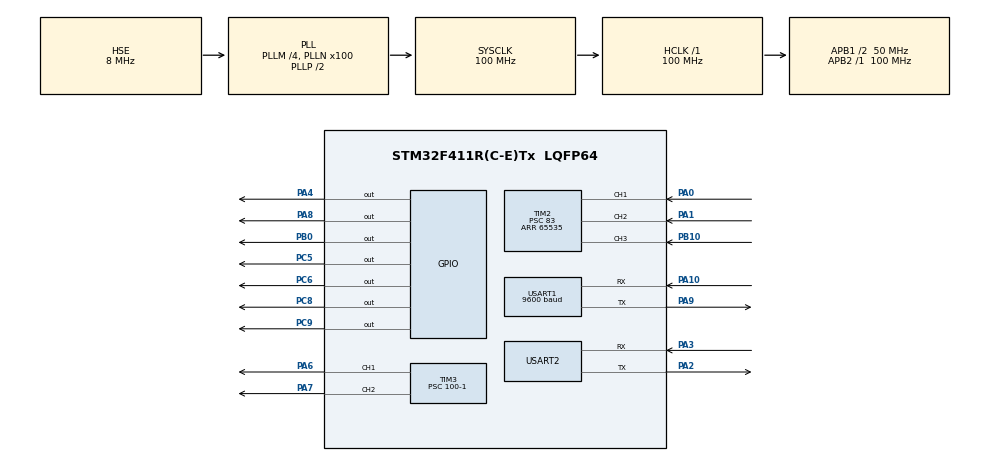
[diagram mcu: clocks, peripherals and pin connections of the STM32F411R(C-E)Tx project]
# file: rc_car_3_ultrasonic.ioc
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Mcu.Family=STM32F4
Mcu.Name=STM32F411R(C-E)Tx
Mcu.Package=LQFP64
NVIC.PriorityGroup=NVIC_PRIORITYGROUP_4
NVIC.TIM2_IRQn=true\:0\:0\:false\:false\:true\:true\:true\:true
NVIC.USART1_IRQn=true\:0\:0\:false\:false\:true\:true\:true\:true
NVIC.USART2_IRQn=true\:0\:0\:false\:false\:true\:true\:true\:true
PA0-WKUP.Signal=S_TIM2_CH1_ETR
PA1.Signal=S_TIM2_CH2
PA10.Mode=Asynchronous
PA10.Signal=USART1_RX
PA13.Mode=Serial_Wire
PA13.Signal=SYS_JTMS-SWDIO
PA14.Mode=Serial_Wire
PA14.Signal=SYS_JTCK-SWCLK
PA2.Mode=Asynchronous
PA2.Signal=USART2_TX
PA3.Mode=Asynchronous
PA3.Signal=USART2_RX
PA4.Signal=GPIO_Output
PA6.Signal=S_TIM3_CH1
PA7.Signal=S_TIM3_CH2
PA8.Signal=GPIO_Output
PA9.Mode=Asynchronous
PA9.Signal=USART1_TX
PB0.Signal=GPIO_Output
PB10.Signal=S_TIM2_CH3
PC5.Signal=GPIO_Output
PC6.Signal=GPIO_Output
PC8.Signal=GPIO_Output
PC9.Signal=GPIO_Output
PH0\ -\ OSC_IN.Mode=HSE-External-Oscillator
PH0\ -\ OSC_IN.Signal=RCC_OSC_IN
PH1\ -\ OSC_OUT.Mode=HSE-External-Oscillator
PH1\ -\ OSC_OUT.Signal=RCC_OSC_OUT
ProjectManager.HeapSize=0x200
ProjectManager.StackSize=0x400
ProjectManager.TargetToolchain=STM32CubeIDE
RCC.48MHZClocksFreq_Value=50000000
RCC.AHBFreq_Value=100000000
RCC.APB1CLKDivider=RCC_HCLK_DIV2
RCC.APB1Freq_Value=50000000
RCC.APB1TimFreq_Value=100000000
RCC.APB2Freq_Value=100000000
RCC.APB2TimFreq_Value=100000000
RCC.CortexFreq_Value=100000000
RCC.HCLKFreq_Value=100000000
RCC.HSE_VALUE=8000000
RCC.HSI_VALUE=16000000
RCC.LSE_VALUE=32768
RCC.PLLM=4
RCC.PLLN=100
RCC.PLLSourceVirtual=RCC_PLLSOURCE_HSE
RCC.SYSCLKFreq_VALUE=100000000
RCC.SYSCLKSource=RCC_SYSCLKSOURCE_PLLCLK
RCC.VCOOutputFreq_Value=200000000
SH.S_TIM2_CH1_ETR.0=TIM2_CH1,Input_Capture1_from_TI1
SH.S_TIM2_CH2.0=TIM2_CH2,Input_Capture2_from_TI2
SH.S_TIM2_CH3.0=TIM2_CH3,Input_Capture3_from_TI3
SH.S_TIM3_CH1.0=TIM3_CH1,PWM Generation1 CH1
SH.S_TIM3_CH2.0=TIM3_CH2,PWM Generation2 CH2
TIM11.Prescaler=100-1
TIM2.Channel-Input_Capture1_from_TI1=TIM_CHANNEL_1
TIM2.Channel-Input_Capture2_from_TI2=TIM_CHANNEL_2
TIM2.Channel-Input_Capture3_from_TI3=TIM_CHANNEL_3
TIM2.Period=65535
TIM2.Prescaler=83
TIM3.Channel-PWM\ Generation1\ CH1=TIM_CHANNEL_1
TIM3.Channel-PWM\ Generation2\ CH2=TIM_CHANNEL_2
TIM3.Period=1000-1
TIM3.Prescaler=100-1
USART1.BaudRate=9600
USART1.VirtualMode=VM_ASYNC
USART2.VirtualMode=VM_ASYNC
VP_TIM11_VS_ClockSourceINT.Mode=Enable_Timer
VP_TIM2_VS_ClockSourceINT.Mode=Internal
VP_TIM3_VS_ClockSourceINT.Mode=Internal
board=custom

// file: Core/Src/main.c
/* USER CODE BEGIN Header */
/**
  ******************************************************************************
  * @file           : main.c
  * @brief          : Ultrasonic 3 sensors (TIM2 IC) + UART2 command
  ******************************************************************************
  */
/* USER CODE END Header */
#include "main.h"
#include "tim.h"
#include "usart.h"
#include "gpio.h"

/* USER CODE BEGIN Includes */
#include "ult.h"
#include "delay.h"
#include <stdio.h>
/* USER CODE END Includes */

/* USER CODE BEGIN PM */
#ifdef __GNUC__
#define PUTCHAR_PROTOTYPE int __io_putchar(int ch)
#else
#define PUTCHAR_PROTOTYPE int fputc(int ch, FILE *f)
#endif

PUTCHAR_PROTOTYPE
{
  if(ch == '\n')
    HAL_UART_Transmit(&huart2, (uint8_t*)"\r", 1, 0xFFFF);
  HAL_UART_Transmit(&huart2, (uint8_t*)&ch, 1, 0xFFFF);
  return ch;
}
/* USER CODE END PM */

void SystemClock_Config(void);
/* USER CODE BEGIN PFP */

void HAL_TIM_IC_CaptureCallback(TIM_HandleTypeDef *htim)
{
    ULT_TIM_IC_CaptureCallback(htim);

}
/* USER CODE END PFP */

int main(void)
{

  /* MCU Configuration--------------------------------------------------------*/

  /* Reset of all peripherals, Initializes the Flash interface and the Systick. */
  HAL_Init();

  /* Configure the system clock */
  SystemClock_Config();

  /* Initialize all configured peripherals */
  MX_GPIO_Init();
  MX_USART2_UART_Init();
  MX_TIM3_Init();
  MX_USART1_UART_Init();
  MX_TIM2_Init();
  MX_TIM11_Init();
  /* USER CODE BEGIN 2 */
  ULT_Init();

  /* USER CODE END 2 */

  /* Infinite loop */
  /* USER CODE BEGIN WHILE */
  while (1)
  {
	        ULT_Trigger(0);
	        HAL_Delay(50); // Echo 대기

	        if(ULT_IsReady(0)) {
	            printf("Distance: %d cm\n", ULT_GetDistance(0));
	            ULT_ClearReady(0);
	        } else {
	            // Ready가 안 된다면 인터럽트가 호출되지 않는 것입니다.
	            // printf("Waiting for Echo...\n");
	        }
	        HAL_Delay(500);

    /* USER CODE END WHILE */

  }
}

void SystemClock_Config(void)
{
  RCC_OscInitTypeDef RCC_OscInitStruct = {0};
  RCC_ClkInitTypeDef RCC_ClkInitStruct = {0};

  /** Configure the main internal regulator output voltage
  */
  __HAL_RCC_PWR_CLK_ENABLE();
  __HAL_PWR_VOLTAGESCALING_CONFIG(PWR_REGULATOR_VOLTAGE_SCALE1);

  /** Initializes the RCC Oscillators according to the specified parameters
  * in the RCC_OscInitTypeDef structure.
  */
  RCC_OscInitStruct.OscillatorType = RCC_OSCILLATORTYPE_HSE;
  RCC_OscInitStruct.HSEState = RCC_HSE_ON;
  RCC_OscInitStruct.PLL.PLLState = RCC_PLL_ON;
  RCC_OscInitStruct.PLL.PLLSource = RCC_PLLSOURCE_HSE;
  RCC_OscInitStruct.PLL.PLLM = 4;
  RCC_OscInitStruct.PLL.PLLN = 100;
  RCC_OscInitStruct.PLL.PLLP = RCC_PLLP_DIV2;
  RCC_OscInitStruct.PLL.PLLQ = 4;
  if (HAL_RCC_OscConfig(&RCC_OscInitStruct) != HAL_OK)
  {
    Error_Handler();
  }

  /** Initializes the CPU, AHB and APB buses clocks
  */
  RCC_ClkInitStruct.ClockType = RCC_CLOCKTYPE_HCLK|RCC_CLOCKTYPE_SYSCLK
                              |RCC_CLOCKTYPE_PCLK1|RCC_CLOCKTYPE_PCLK2;
  RCC_ClkInitStruct.SYSCLKSource = RCC_SYSCLKSOURCE_PLLCLK;
  RCC_ClkInitStruct.AHBCLKDivider = RCC_SYSCLK_DIV1;
  RCC_ClkInitStruct.APB1CLKDivider = RCC_HCLK_DIV2;
  RCC_ClkInitStruct.APB2CLKDivider = RCC_HCLK_DIV1;

  if (HAL_RCC_ClockConfig(&RCC_ClkInitStruct, FLASH_LATENCY_3) != HAL_OK)
  {
    Error_Handler();
  }
}

void Error_Handler(void)
{
  __disable_irq();
  while (1)
  {
  }
}
